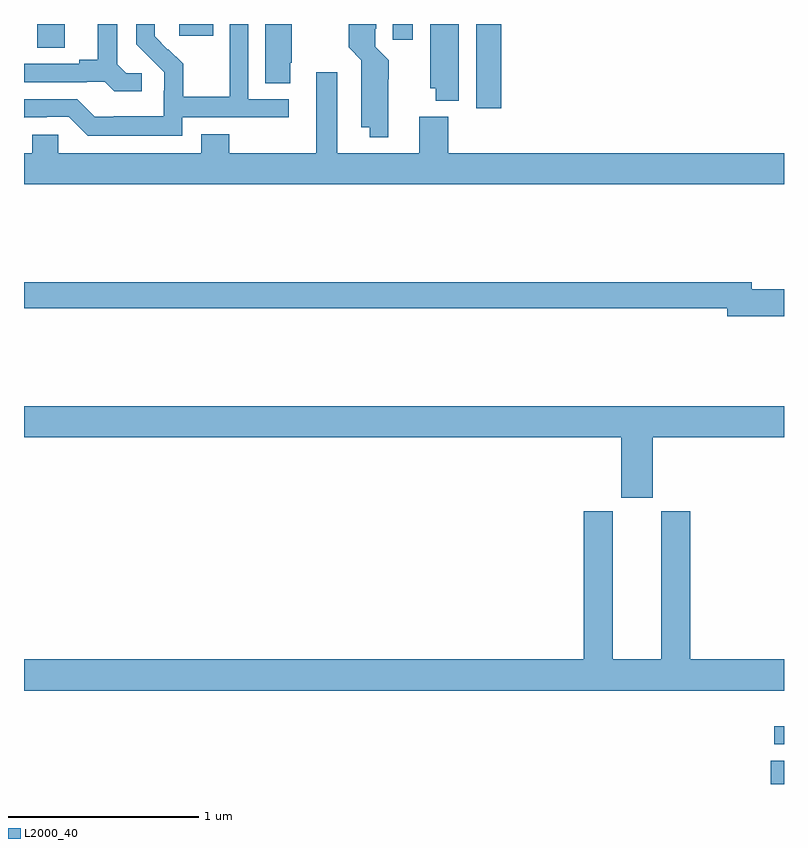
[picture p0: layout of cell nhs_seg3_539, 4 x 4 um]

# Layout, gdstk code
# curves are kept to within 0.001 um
import gdstk
lib = gdstk.Library(unit=1e-6, precision=1e-09)
def R(c, l, rs):  # rectangles x0, y0, x1, y1
    for r in rs: c.add(gdstk.rectangle(r[:2], r[2:], *l))
def P(c, l, *ps):  # polygons
    for p in ps: c.add(gdstk.Polygon(p, *l))
L2000_40 = (2000, 40)

nhs_seg3_539 = lib.new_cell('nhs_seg3_539')
R(nhs_seg3_539, L2000_40, [(140.93,724.4,141,724.523), (140.949,724.608,141,724.704), (139.379,727.956,139.511,728.4), (137.07,728.275,137.215,728.4), (138.941,728.316,139.045,728.4), (137.816,728.337,137.995,728.4)])
P(nhs_seg3_539, L2000_40, [(137.62,728.142),(137.538,728.142),(137.491,728.189),(137.491,728.4),(137.387,728.4),(137.387,728.213),(137.291,728.213),(137.291,728.19),(137,728.19),(137,728.094),(137.33,728.094),(137.33,728.097),(137.424,728.097),(137.476,728.045),(137.62,728.045)],
  [(137.832,727.908),(138.394,727.908),(138.394,728.004),(138.18,728.004),(138.18,728.4),(138.084,728.4),(138.084,728.24),(138.082,728.24),(138.082,728.017),(137.837,728.017),(137.837,728.191),(137.76,728.268),(137.757,728.265),(137.687,728.336),(137.687,728.4),(137.592,728.4),(137.592,728.294),(137.738,728.146),(137.738,728.049),(137.736,728.049),(137.736,727.915),(137.473,727.915),(137.473,727.911),(137.373,727.911),(137.28,728.004),(137,728.004),(137,727.907),(137.12,727.908),(137.12,727.911),(137.235,727.911),(137.335,727.811),(137.832,727.811)],
  [(138.918,728.108),(138.919,728.21),(138.849,728.28),(138.849,728.374),(138.853,728.374),(138.853,728.4),(138.709,728.4),(138.709,728.277),(138.776,728.21),(138.776,727.856),(138.821,727.856),(138.821,727.805),(138.918,727.805)],
  [(138.4,728.197),(138.408,728.197),(138.408,728.4),(138.269,728.4),(138.269,728.089),(138.4,728.089)],
  [(139.288,728.4),(139.139,728.4),(139.139,728.061),(139.166,728.061),(139.166,727.997),(139.288,727.997)],
  [(141,727.72),(139.232,727.72),(139.232,727.912),(139.079,727.912),(139.079,727.72),(138.649,727.72),(138.649,728.146),(138.539,728.146),(138.539,727.72),(138.081,727.72),(138.081,727.819),(137.933,727.819),(137.933,727.72),(137.181,727.72),(137.181,727.818),(137.043,727.818),(137.043,727.72),(137,727.72),(137,727.556),(141,727.556)],
  [(141,727.004),(140.83,727.004),(140.83,727.04),(137,727.04),(137,726.904),(140.702,726.904),(140.702,726.862),(141,726.862)],
  [(140.308,726.224),(141,726.224),(141,726.388),(137,726.388),(137,726.224),(140.144,726.224),(140.144,725.907),(140.308,725.907)],
  [(141,725.056),(140.507,725.056),(140.507,725.835),(140.354,725.835),(140.354,725.056),(140.098,725.056),(140.098,725.835),(139.946,725.835),(139.946,725.056),(137,725.056),(137,724.892),(141,724.892)])

lib.write_gds('nhs_seg3_539.gds')
